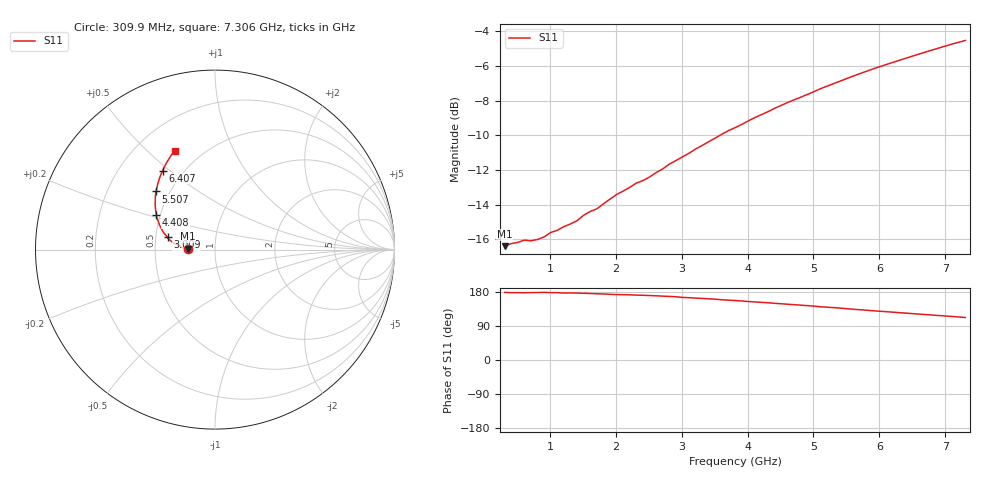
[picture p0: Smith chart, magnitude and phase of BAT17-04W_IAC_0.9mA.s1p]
! Infineon Technologies  Discrete & RF Semiconductors
! BAT17-04W
! IAC = 0.9 mA
! One-Port S-Parameters
# Hz  S  MA  R  50
!f  S11
!Hz  Mag  Ang
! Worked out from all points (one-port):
!   71 points, 309.9 MHz to 7.306 GHz, reference 50 ohm
!   lowest |S11| = -16.4 dB at 309.9 MHz (marker M1), VSWR 1.36, Z = 36.9 + j0.325 ohm
!   |S11| at or under -10 dB: start of sweep to 3.583 GHz
!   S11 on the Smith chart (normalised r, x): 309.9 MHz: 0.74, +0.01; 3.009 GHz: 0.58, +0.09; 4.408 GHz: 0.48, +0.21; 5.507 GHz: 0.42, +0.35; 6.407 GHz: 0.39, +0.47; 7.306 GHz: 0.36, +0.61
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3.0985e8  0.1513 178.4
6.097e8  0.1575 177.5
7.0965e8  0.1568 177.9
8.096e8  0.1581 178.0
9.0955e8  0.1608 178.5
1.0095e9  0.1657 177.9
1.2094e9  0.1722 176.8
1.4093e9  0.1792 176.7
1.50925e9  0.1857 176.1
1.70915e9  0.1938 174.7
2.009e9  0.2132 172.7
2.10895e9  0.2181 172.4
2.6087e9  0.2465 169.5
2.90855e9  0.267 166.9
3.0085e9  0.2737 165.2
3.30835e9  0.2953 162.6
3.8081e9  0.3325 156.9
4.4078e9  0.378 149.6
4.70765e9  0.4002 145.9
5.0075e9  0.4225 142.1
5.50725e9  0.461 135.3
5.6072e9  0.4687 133.9
6.10695e9  0.506 127.5
6.4068e9  0.5278 123.6
6.50675e9  0.5352 122.3
6.8066e9  0.5573 118.6
7.10645e9  0.5796 114.9
7.30635e9  0.5936 112.2
